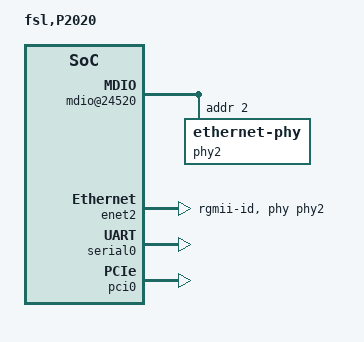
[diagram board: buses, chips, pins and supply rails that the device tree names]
/*
 * P2020 DS Core1 Device Tree Source in CAMP mode.
 *
 * In CAMP mode, each core needs to have its own dts. Only mpic and L2 cache
 * can be shared, all the other devices must be assigned to one core only.
 * This dts file allows core0 to have l2, dma2, eth2,
 * pci0, msi.
 *
 * Please note to add "-b 1" for core1's dts compiling.
 *
 * Copyright 2007-2009 Freescale Semiconductor Inc.
 *
 * This program is free software; you can redistribute  it and/or modify it
 * under  the terms of  the GNU General  Public License as published by the
 * Free Software Foundation;  either version 2 of the  License, or (at your
 * option) any later version.
 */

/dts-v1/;
/ {
	model = "fsl,P2020";
	compatible = "fsl,P2020DS", "fsl,MPC8572-CAMP";
	#address-cells = <2>;
	#size-cells = <2>;

	aliases {
		ethernet2 = &enet2;
		serial0 = &serial0;
		pci0 = &pci0;
	};

	cpus {
		#address-cells = <1>;
		#size-cells = <0>;

		PowerPC,P2020@1 {
			device_type = "cpu";
			reg = <0x1>;
			next-level-cache = <&L2>;
		};
	};

	memory {
		device_type = "memory";
	};

	soc@ffe00000 {
		#address-cells = <1>;
		#size-cells = <1>;
		device_type = "soc";
		compatible = "simple-bus";
		ranges = <0x0 0 0xffe00000 0x100000>;
		reg = <0 0xffe00000 0 0x1000>;	// CCSRBAR & soc regs, remove once parse code for immrbase fixed
		bus-frequency = <0>;		// Filled out by uboot.

		L2: l2-cache-controller@20000 {
			compatible = "fsl,p2020-l2-cache-controller";
			reg = <0x20000 0x1000>;
			cache-line-size = <32>;	// 32 bytes
			cache-size = <0x100000>; // L2, 1M
			interrupt-parent = <&mpic>;
			interrupts = <16 2>;
		};

		dma@c300 {
			#address-cells = <1>;
			#size-cells = <1>;
			compatible = "fsl,p2020-dma", "fsl,eloplus-dma";
			reg = <0xc300 0x4>;
			ranges = <0x0 0xc100 0x200>;
			cell-index = <1>;
			dma-channel@0 {
				compatible = "fsl,p2020-dma-channel",
						"fsl,eloplus-dma-channel";
				reg = <0x0 0x80>;
				cell-index = <0>;
				interrupt-parent = <&mpic>;
				interrupts = <76 2>;
			};
			dma-channel@80 {
				compatible = "fsl,p2020-dma-channel",
						"fsl,eloplus-dma-channel";
				reg = <0x80 0x80>;
				cell-index = <1>;
				interrupt-parent = <&mpic>;
				interrupts = <77 2>;
			};
			dma-channel@100 {
				compatible = "fsl,p2020-dma-channel",
						"fsl,eloplus-dma-channel";
				reg = <0x100 0x80>;
				cell-index = <2>;
				interrupt-parent = <&mpic>;
				interrupts = <78 2>;
			};
			dma-channel@180 {
				compatible = "fsl,p2020-dma-channel",
						"fsl,eloplus-dma-channel";
				reg = <0x180 0x80>;
				cell-index = <3>;
				interrupt-parent = <&mpic>;
				interrupts = <79 2>;
			};
		};

		mdio@24520 {
			#address-cells = <1>;
			#size-cells = <0>;
			compatible = "fsl,gianfar-mdio";
			reg = <0x24520 0x20>;

			phy2: ethernet-phy@2 {
				interrupt-parent = <&mpic>;
				reg = <0x2>;
			};
		};

		enet2: ethernet@26000 {
			cell-index = <2>;
			device_type = "network";
			model = "eTSEC";
			compatible = "gianfar";
			reg = <0x26000 0x1000>;
			local-mac-address = [ 00 00 00 00 00 00 ];
			interrupts = <31 2 32 2 33 2>;
			interrupt-parent = <&mpic>;
			phy-handle = <&phy2>;
			phy-connection-type = "rgmii-id";
		};

		serial0: serial@4600 {
			cell-index = <1>;
			device_type = "serial";
			compatible = "ns16550";
			reg = <0x4600 0x100>;
			clock-frequency = <0>;
		};

		msi@41600 {
			compatible = "fsl,p2020-msi", "fsl,mpic-msi";
			reg = <0x41600 0x80>;
			msi-available-ranges = <0 0x100>;
			interrupts = <
				0xe0 0
				0xe1 0
				0xe2 0
				0xe3 0
				0xe4 0
				0xe5 0
				0xe6 0
				0xe7 0>;
			interrupt-parent = <&mpic>;
		};

		mpic: pic@40000 {
			interrupt-controller;
			#address-cells = <0>;
			#interrupt-cells = <2>;
			reg = <0x40000 0x40000>;
			compatible = "chrp,open-pic";
			device_type = "open-pic";
			protected-sources = <
			18 16 3 42 45 58	/* MEM L2 mdio serial crypto */
			29 30 34 35 36 40	/* enet0 enet1 */
			26 25 20 21 22 23	/* pci1 pci2 dma1 */
			43 59 28		/* i2c spi usb */
			0x1 0x2                 /* pci slot */
			0x6 0x7 0xe 0x5         /* Audio elgacy SATA */
			>;
		};
	};

	pci0: pcie@ffe08000 {
		cell-index = <1>;
		compatible = "fsl,mpc8548-pcie";
		device_type = "pci";
		#interrupt-cells = <1>;
		#size-cells = <2>;
		#address-cells = <3>;
		reg = <0 0xffe08000 0 0x1000>;
		bus-range = <0 255>;
		ranges = <0x2000000 0x0 0x80000000 0 0x80000000 0x0 0x20000000
			  0x1000000 0x0 0x00000000 0 0xffc00000 0x0 0x10000>;
		clock-frequency = <33333333>;
		interrupt-parent = <&mpic>;
		interrupts = <24 2>;
		interrupt-map-mask = <0xf800 0x0 0x0 0x7>;
		interrupt-map = <
			/* IDSEL 0x0 */
			0000 0x0 0x0 0x1 &mpic 0x8 0x1
			0000 0x0 0x0 0x2 &mpic 0x9 0x1
			0000 0x0 0x0 0x3 &mpic 0xa 0x1
			0000 0x0 0x0 0x4 &mpic 0xb 0x1
			>;
		pcie@0 {
			reg = <0x0 0x0 0x0 0x0 0x0>;
			#size-cells = <2>;
			#address-cells = <3>;
			device_type = "pci";
			ranges = <0x2000000 0x0 0x80000000
				  0x2000000 0x0 0x80000000
				  0x0 0x20000000

				  0x1000000 0x0 0x0
				  0x1000000 0x0 0x0
				  0x0 0x100000>;
		};
	};
};
